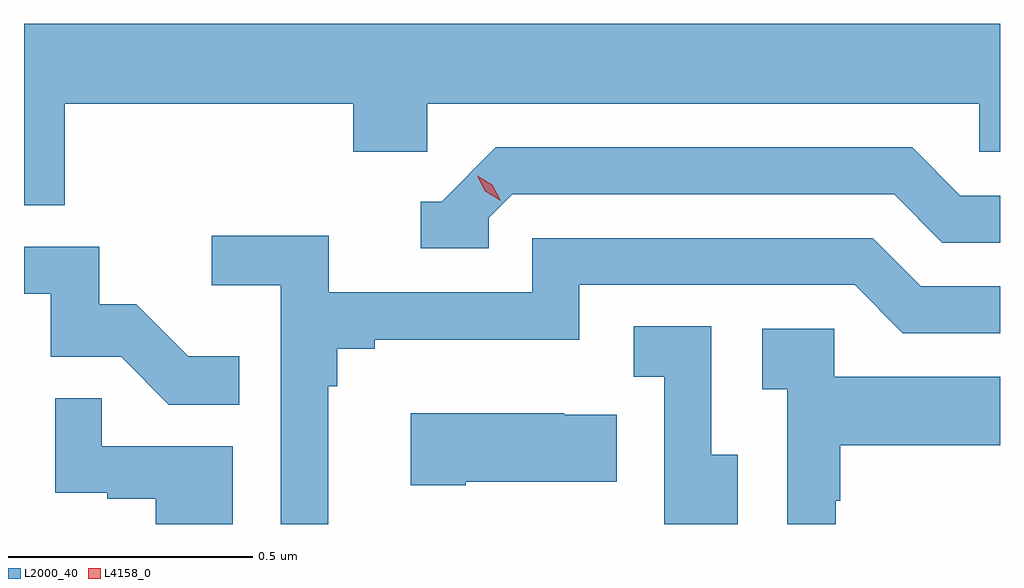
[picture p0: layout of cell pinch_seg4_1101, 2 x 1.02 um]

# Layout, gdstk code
import gdstk
lib = gdstk.Library(unit=1e-6, precision=1e-09)
def P(c, l, *ps):  # polygons
    for p in ps: c.add(gdstk.Polygon(p, *l))
L2000_40 = (2000, 40)
L4158_0 = (4158, 0)

pinch_seg4_1101 = lib.new_cell('pinch_seg4_1101')
P(pinch_seg4_1101, L2000_40, [(856.244,764.852),(856.835,764.852),(856.835,764.754),(856.986,764.754),(856.986,764.852),(858.117,764.852),(858.117,764.754),(858.16,764.754),(858.16,765.016),(856.16,765.016),(856.16,764.644),(856.244,764.644)],
  [(857.112,764.619),(857.16,764.667),(857.943,764.667),(858.042,764.568),(858.16,764.568),(858.16,764.664),(858.079,764.664),(857.98,764.763),(857.127,764.763),(857.016,764.652),(856.973,764.652),(856.973,764.556),(857.112,764.556)],
  [(856.783,764.273),(856.802,764.273),(856.802,764.35),(856.879,764.35),(856.879,764.369),(857.298,764.369),(857.298,764.481),(857.862,764.481),(857.961,764.382),(858.16,764.382),(858.16,764.478),(857.998,764.478),(857.899,764.577),(857.202,764.577),(857.202,764.466),(856.784,764.466),(856.784,764.582),(856.545,764.582),(856.545,764.48),(856.686,764.48),(856.686,763.991),(856.783,763.991)],
  [(856.601,764.335),(856.497,764.335),(856.39,764.442),(856.314,764.442),(856.314,764.559),(856.16,764.559),(856.16,764.463),(856.215,764.463),(856.215,764.334),(856.359,764.334),(856.457,764.236),(856.601,764.236)],
  [(857.623,764.133),(857.568,764.133),(857.568,764.396),(857.409,764.396),(857.409,764.293),(857.472,764.293),(857.472,763.991),(857.623,763.991)],
  [(857.823,764.039),(857.833,764.039),(857.833,764.153),(858.16,764.153),(858.16,764.293),(857.82,764.293),(857.82,764.391),(857.673,764.391),(857.673,764.267),(857.724,764.267),(857.724,763.991),(857.823,763.991)],
  [(856.588,764.151),(856.319,764.151),(856.319,764.249),(856.224,764.249),(856.224,764.055),(856.331,764.055),(856.331,764.043),(856.43,764.043),(856.43,763.991),(856.588,763.991)],
  [(857.065,764.078),(857.375,764.078),(857.375,764.215),(857.267,764.215),(857.267,764.218),(856.953,764.218),(856.953,764.071),(857.065,764.071)])
P(pinch_seg4_1101, L4158_0, [(857.137,764.654),(857.105,764.673),(857.089,764.705),(857.089,764.705),(857.089,764.705),(857.12,764.686),(857.137,764.654),(857.137,764.654)])

lib.write_gds('pinch_seg4_1101.gds')
